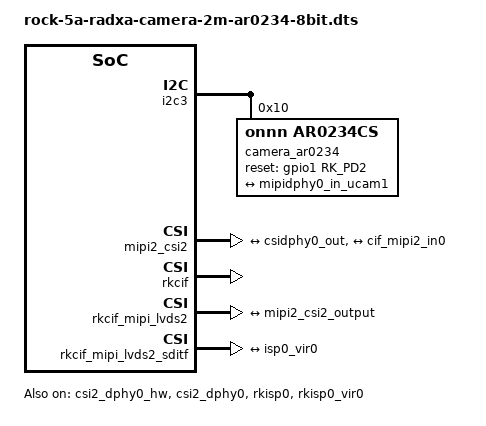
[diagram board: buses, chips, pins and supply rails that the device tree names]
/dts-v1/;
/plugin/;

#include <dt-bindings/gpio/gpio.h>
#include <dt-bindings/pinctrl/rockchip.h>

/ {
	metadata {
		title = "Enable Radxa Camera 2M AR0234 with RAW8 format";
		compatible = "radxa,rock-5a", "radxa,rock-5c";
		category = "camera";
		exclusive = "csi2_dphy0", "GPIO1_D2";
		description = "Enable Radxa Camera 2M AR0234 with RAW8 format.";
	};
};

&i2c3 {
	status = "okay";
	#address-cells = <1>;
	#size-cells = <0>;

	camera_ar0234: camera-ar0234@10 {
		compatible = "onnn,ar0234cs";
		reg = <0x10>;
		reset-gpios = <&gpio1 RK_PD2 GPIO_ACTIVE_HIGH>;
		rockchip,camera-module-index = <0>;
		rockchip,camera-module-facing = "back";
		rockchip,camera-module-name = "default";
		rockchip,camera-module-lens-name = "default";

		port {
			ar0234_out0: endpoint {
				remote-endpoint = <&mipidphy0_in_ucam1>;
				data-lanes = <1 2 3 4>;
				link-frequencies = /bits/ 64 <360000000>;
			};
		};
	};
};

&csi2_dphy0_hw {
	status = "okay";
};

&csi2_dphy0 {
	status = "okay";

	ports {
		#address-cells = <1>;
		#size-cells = <0>;

		port@0 {
			reg = <0>;
			#address-cells = <1>;
			#size-cells = <0>;

			mipidphy0_in_ucam1: endpoint@2 {
				reg = <2>;
				remote-endpoint = <&ar0234_out0>;
				data-lanes = <1 2 3 4>;
			};
		};

		port@1 {
			reg = <1>;
			#address-cells = <1>;
			#size-cells = <0>;

			csidphy0_out: endpoint@0 {
				reg = <0>;
				remote-endpoint = <&mipi2_csi2_input>;
			};
		};
	};
};

&mipi2_csi2 {
	status = "okay";

	ports {
		#address-cells = <1>;
		#size-cells = <0>;

		port@0 {
			reg = <0>;
			#address-cells = <1>;
			#size-cells = <0>;

			mipi2_csi2_input: endpoint@1 {
				reg = <1>;
				remote-endpoint = <&csidphy0_out>;
			};
		};

		port@1 {
			reg = <1>;
			#address-cells = <1>;
			#size-cells = <0>;

			mipi2_csi2_output: endpoint@0 {
				reg = <0>;
				remote-endpoint = <&cif_mipi2_in0>;
			};
		};
	};
};

&rkcif {
	status = "okay";
};

&rkcif_mipi_lvds2 {
	status = "okay";

	port {
		cif_mipi2_in0: endpoint {
			remote-endpoint = <&mipi2_csi2_output>;
		};
	};
};

&rkcif_mipi_lvds2_sditf {
	status = "okay";

	port {
		mipi_lvds2_sditf: endpoint {
			remote-endpoint = <&isp0_vir0>;
		};
	};
};

&rkcif_mmu {
	status = "okay";
};

&isp0_mmu {
	status = "okay";
};

&rkisp0 {
	status = "okay";
};

&rkisp0_vir0 {
	status = "okay";

	port {
		#address-cells = <1>;
		#size-cells = <0>;

		isp0_vir0: endpoint@0 {
			reg = <0>;
			remote-endpoint = <&mipi_lvds2_sditf>;
		};
	};
};
